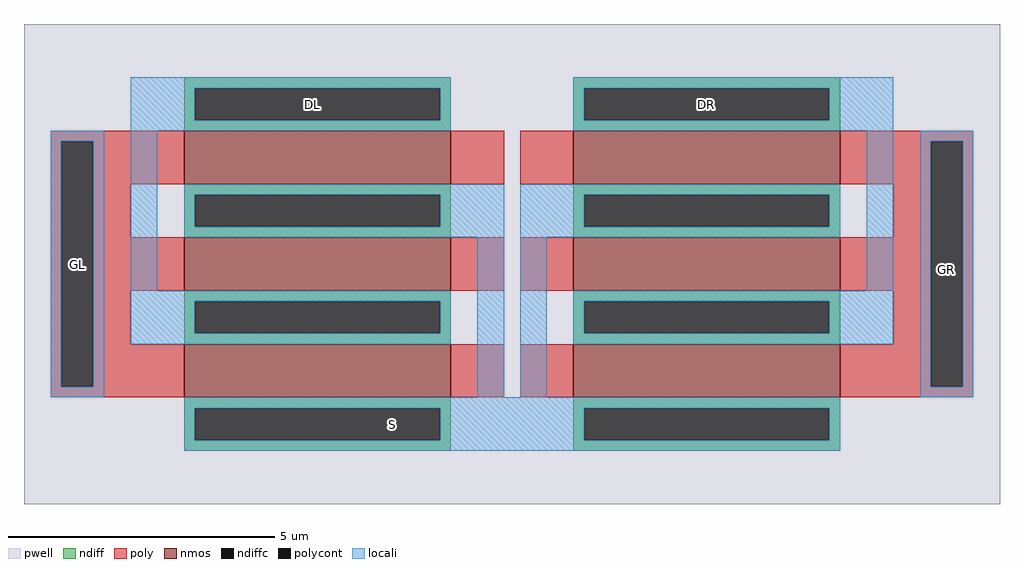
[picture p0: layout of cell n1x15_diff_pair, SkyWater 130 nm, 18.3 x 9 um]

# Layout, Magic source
magic
tech sky130A
<< pwell >>
rect 170 -560 350 -460
<< locali >>
rect 170 -560 350 -460
use n1x15  n1x15_0
transform 1 0 -180 0 1 -60
box -500 -600 500 300
use n1x15  n1x15_1
transform -1 0 650 0 1 -60
box -500 -600 500 300
<< labels >>
flabel space -140 90 -140 90 0 FreeSans 800 0 0 0 DL
port 0 nsew
flabel space 600 90 600 90 0 FreeSans 800 0 0 0 DR
port 1 nsew
flabel space -580 -210 -580 -210 0 FreeSans 800 0 0 0 GL
port 2 nsew
flabel space 1050 -220 1050 -220 0 FreeSans 800 0 0 0 GR
port 3 nsew
flabel space 10 -510 10 -510 0 FreeSans 800 0 0 0 S
port 4 nsew
<< end >>

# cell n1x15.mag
magic
tech sky130A
<< pwell >>
rect -500 -600 500 300
<< nmos >>
rect -200 0 300 100
rect -200 -200 300 -100
rect -200 -400 300 -300
<< ndiff >>
rect -200 180 300 200
rect -200 120 -180 180
rect 280 120 300 180
rect -200 100 300 120
rect -200 -20 300 0
rect -200 -80 -180 -20
rect 280 -80 300 -20
rect -200 -100 300 -80
rect -200 -220 300 -200
rect -200 -280 -180 -220
rect 280 -280 300 -220
rect -200 -300 300 -280
rect -200 -420 300 -400
rect -200 -480 -180 -420
rect 280 -480 300 -420
rect -200 -500 300 -480
<< ndiffc >>
rect -180 120 280 180
rect -180 -80 280 -20
rect -180 -280 280 -220
rect -180 -480 280 -420
<< poly >>
rect -450 80 -200 100
rect -450 -380 -430 80
rect -370 0 -200 80
rect 300 0 400 100
rect -370 -100 -300 0
rect -370 -200 -200 -100
rect 300 -200 400 -100
rect -370 -300 -300 -200
rect -370 -380 -200 -300
rect -450 -400 -200 -380
rect 300 -400 400 -300
<< polycont >>
rect -430 -380 -370 80
<< locali >>
rect -300 180 300 200
rect -300 120 -180 180
rect 280 120 300 180
rect -300 100 300 120
rect -450 80 -350 100
rect -450 -380 -430 80
rect -370 -380 -350 80
rect -300 -200 -250 100
rect -200 -20 400 0
rect -200 -80 -180 -20
rect 280 -80 400 -20
rect -200 -100 400 -80
rect -300 -220 300 -200
rect -300 -280 -180 -220
rect 280 -280 300 -220
rect -300 -300 300 -280
rect -450 -400 -350 -380
rect 350 -400 400 -100
rect -200 -420 400 -400
rect -200 -480 -180 -420
rect 280 -480 400 -420
rect -200 -500 400 -480
<< labels >>
flabel ndiffc 40 150 40 150 0 FreeSans 800 0 0 0 D
port 0 nsew
flabel polycont -400 -150 -400 -150 0 FreeSans 800 0 0 0 G
port 1 nsew
flabel ndiffc 60 -450 60 -450 0 FreeSans 800 0 0 0 S
port 2 nsew
<< end >>
